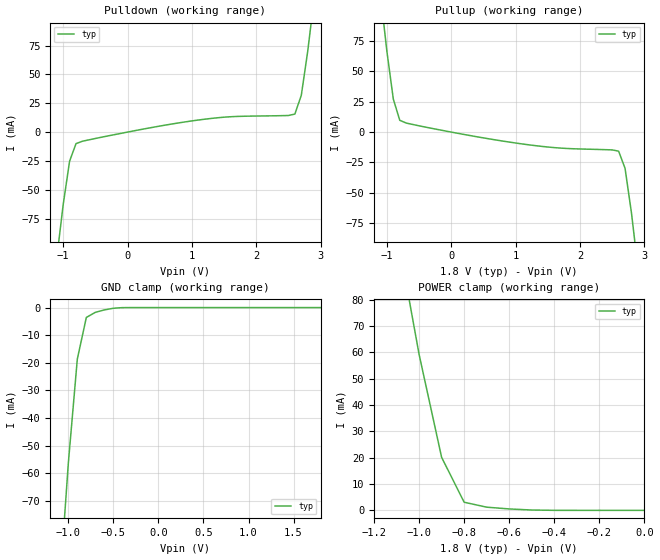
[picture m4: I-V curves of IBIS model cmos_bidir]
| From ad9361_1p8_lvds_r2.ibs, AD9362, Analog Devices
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[model] cmos_bidir
Model_type I/O
Vinl = 0.63
Vinh = 1.17
Cref  =   3.000pF
Rref  =   10kOhm
Vref  =   1.8V
Vmeas =   1.5V
|   typ   min   max
C_comp   4pF   NA   NA
[Voltage Range]   1.800V  NA   NA
[GND Clamp Reference]   0.000V  NA   NA
[POWER Clamp Reference] 1.800V  NA   NA
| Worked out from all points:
|   slope of the pulldown table from 0 to 0.27 V, typ, clamps not added: 93.9 ohm
|   slope of the pullup table from 0 to 0.27 V, typ, clamps not added: 102 ohm
|   GND clamp passes 1 mA (typ) near -0.62 V on its own axis
|   POWER clamp passes 1 mA (typ) near -0.67 V on its own axis
[GND Clamp]
| Voltage  I(typ)   I(min)  I(max)
-1.8V     -472.8mA   NA         NA
-1.1V     -103.1mA   NA         NA
-1V       -56.47mA   NA         NA
-900mV    -18.66mA   NA         NA
-800mV    -3.584mA   NA         NA
-700mV    -1.725mA   NA         NA
-500mV    -242.9uA   NA         NA
-400mV    -23.56uA   NA         NA
1.8V      60pA       NA         NA
[POWER Clamp]
| Voltage  I(typ)   I(min)  I(max)
-1.8V     477.8mA    NA         NA
-1.1V     106.5mA    NA         NA
-1V       59.26mA    NA         NA
-900mV    20.15mA    NA         NA
-800mV    3.092mA    NA         NA
-700mV    1.208mA    NA         NA
-500mV    127uA      NA         NA
0V        60pA       NA         NA
[Pulldown]
| Voltage  I(typ)   I(min)  I(max)
-1.8V     -477.7mA   NA         NA
-1.1V     -109.7mA   NA         NA
-1V       -63.05mA   NA         NA
-900mV    -25.18mA   NA         NA
-800mV    -9.984mA   NA         NA
100mV     1.083mA    NA         NA
1.1V      10.45mA    NA         NA
2.6V      15.61mA    NA         NA
2.7V      31.92mA    NA         NA
2.8V      70.16mA    NA         NA
2.9V      116.3mA    NA         NA
3.6V      481.6mA    NA         NA
[Pullup]
| Voltage  I(typ)   I(min)  I(max)
-1.8V     482.5mA    NA         NA
-1.1V     113.6mA    NA         NA
-1V       66.37mA    NA         NA
-900mV    27.07mA    NA         NA
-800mV    9.713mA    NA         NA
-200mV    2.02mA     NA         NA
1.1V      -9.742mA   NA         NA
2.6V      -15.69mA   NA         NA
2.7V      -29.85mA   NA         NA
2.8V      -66.67mA   NA         NA
2.9V      -112.3mA   NA         NA
3.6V      -477.6mA   NA         NA
[Ramp]
|   typ   min   max
dV/dt_r   1.08V/.1457ns   NA   NA
dV/dt_f   1.08V/.1468ns   NA   NA
R_load=10k
|--end cmos_bidir model-----------------------------------------------------
